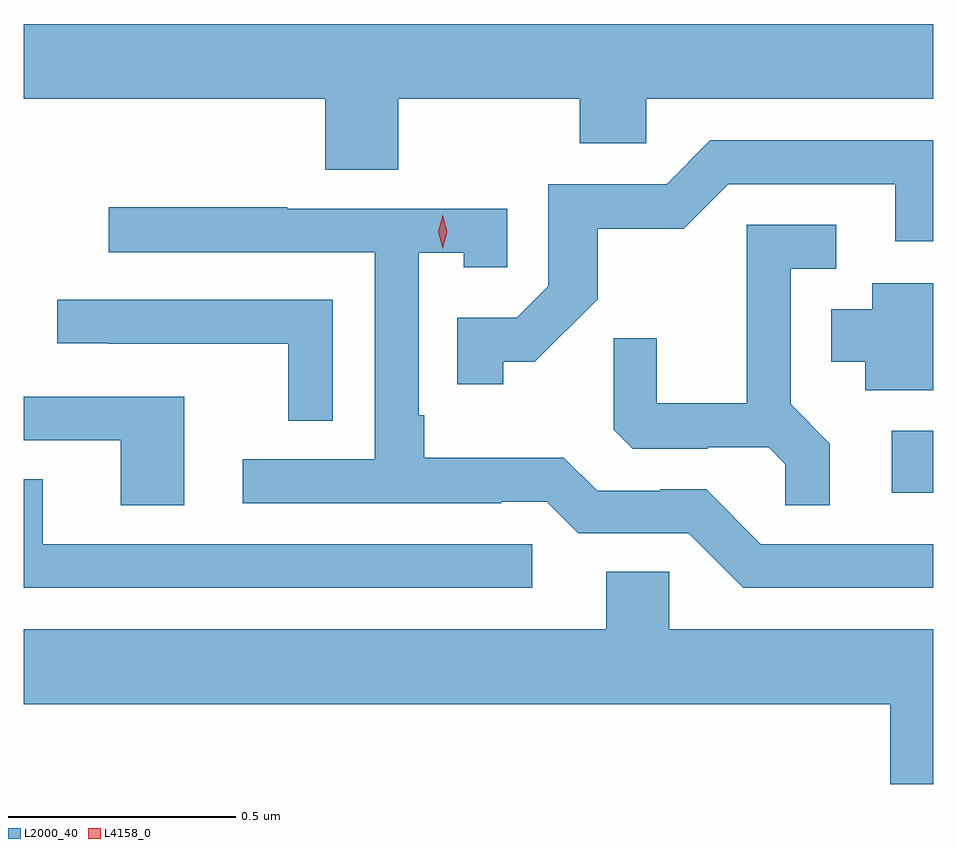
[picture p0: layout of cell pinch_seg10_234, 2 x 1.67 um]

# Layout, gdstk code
import gdstk
lib = gdstk.Library(unit=1e-6, precision=1e-09)
def R(c, l, rs):  # rectangles x0, y0, x1, y1
    for r in rs: c.add(gdstk.rectangle(r[:2], r[2:], *l))
def P(c, l, *ps):  # polygons
    for p in ps: c.add(gdstk.Polygon(p, *l))
L2000_40 = (2000, 40)
L4158_0 = (4158, 0)

pinch_seg10_234 = lib.new_cell('pinch_seg10_234')
R(pinch_seg10_234, L2000_40, [(626.475,1311.437,626.566,1311.573)])
P(pinch_seg10_234, L2000_40, [(625.389,1312.304),(625.789,1312.304),(625.789,1312.206),(625.935,1312.206),(625.935,1312.304),(626.566,1312.304),(626.566,1312.468),(624.566,1312.468),(624.566,1312.304),(625.229,1312.304),(625.229,1312.147),(625.389,1312.147)],
  [(625.62,1311.725),(625.69,1311.725),(625.828,1311.862),(625.828,1312.018),(626.017,1312.018),(626.115,1312.116),(626.483,1312.116),(626.483,1311.99),(626.566,1311.99),(626.566,1312.212),(626.076,1312.212),(625.98,1312.116),(625.719,1312.116),(625.719,1311.891),(625.65,1311.822),(625.519,1311.822),(625.519,1311.675),(625.62,1311.675)],
  [(626.566,1311.324),(626.187,1311.324),(626.067,1311.444),(625.966,1311.444),(625.966,1311.441),(625.827,1311.441),(625.754,1311.514),(625.447,1311.514),(625.447,1311.607),(625.434,1311.607),(625.434,1311.965),(625.533,1311.965),(625.533,1311.933),(625.629,1311.933),(625.629,1312.062),(625.145,1312.062),(625.145,1312.065),(624.753,1312.065),(624.753,1311.966),(625.338,1311.966),(625.338,1311.51),(625.047,1311.51),(625.047,1311.414),(625.616,1311.414),(625.616,1311.417),(625.716,1311.417),(625.785,1311.348),(626.028,1311.348),(626.148,1311.228),(626.566,1311.228)],
  [(626.339,1311.545),(626.253,1311.631),(626.253,1311.93),(626.353,1311.93),(626.353,1312.026),(626.156,1312.026),(626.156,1311.634),(625.958,1311.634),(625.958,1311.777),(625.864,1311.777),(625.864,1311.575),(625.905,1311.534),(626.07,1311.534),(626.07,1311.537),(626.204,1311.537),(626.241,1311.5),(626.241,1311.409),(626.339,1311.409)],
  [(626.566,1311.898),(626.432,1311.898),(626.432,1311.841),(626.342,1311.841),(626.342,1311.725),(626.417,1311.725),(626.417,1311.662),(626.566,1311.662)],
  [(625.245,1311.861),(624.639,1311.861),(624.639,1311.766),(624.751,1311.766),(624.751,1311.765),(625.147,1311.765),(625.147,1311.595),(625.245,1311.595)],
  [(624.919,1311.648),(624.566,1311.648),(624.566,1311.552),(624.779,1311.552),(624.779,1311.409),(624.919,1311.409)],
  [(625.684,1311.324),(624.607,1311.324),(624.607,1311.467),(624.566,1311.467),(624.566,1311.228),(625.684,1311.228)],
  [(626.566,1311.136),(625.986,1311.136),(625.986,1311.263),(625.847,1311.263),(625.847,1311.136),(624.566,1311.136),(624.566,1310.972),(626.472,1310.972),(626.472,1310.796),(626.566,1310.796)])
P(pinch_seg10_234, L4158_0, [(625.487,1311.974),(625.487,1311.975),(625.477,1312.011),(625.487,1312.047),(625.487,1312.047),(625.487,1312.047),(625.497,1312.011),(625.487,1311.975)])

lib.write_gds('pinch_seg10_234.gds')
